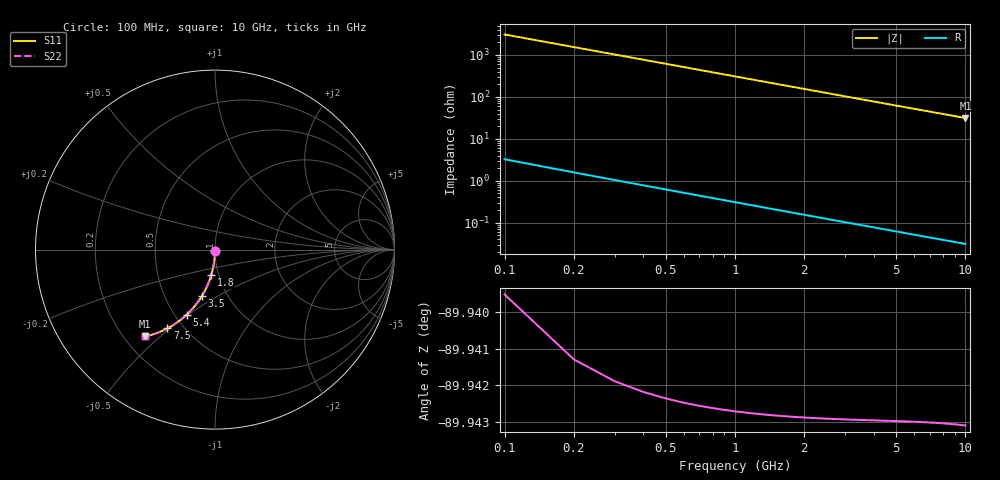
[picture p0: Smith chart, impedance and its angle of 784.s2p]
# Hz S RI R 50.00
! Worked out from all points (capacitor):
!   100 points, 100 MHz to 10 GHz, reference 50 ohm
!   read as one part in shunt: C = 516 fF near 100 MHz
!   lowest |Z| = 31.4 ohm at 10 GHz (marker M1)
!   S11 on the Smith chart (normalised r, x): 100 MHz: 1.00, -0.02; 1.8 GHz: 0.92, -0.27; 3.5 GHz: 0.76, -0.43; 5.4 GHz: 0.57, -0.49; 7.5 GHz: 0.41, -0.49; 10 GHz: 0.28, -0.45
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1e8  -6.96e-05 -0.00808  0.9999 -0.00814  0.9999 -0.00814  -6.96e-05 -0.00808
2e8  -0.000275 -0.0162  0.9997 -0.0163  0.9997 -0.0163  -0.000275 -0.0162
3e8  -0.000612 -0.0242  0.9994 -0.0244  0.9994 -0.0244  -0.000612 -0.0242
4e8  -0.00108 -0.0323  0.9989 -0.0325  0.9989 -0.0325  -0.00108 -0.0323
5e8  -0.00168 -0.0403  0.9983 -0.0406  0.9983 -0.0406  -0.00168 -0.0403
6e8  -0.00241 -0.0484  0.9976 -0.0487  0.9976 -0.0487  -0.00241 -0.0484
8e8  -0.00425 -0.0643  0.9957 -0.0648  0.9957 -0.0648  -0.00425 -0.0643
1.1e9  -0.00796 -0.0881  0.992 -0.0887  0.992 -0.0887  -0.00796 -0.0881
1.4e9  -0.0128 -0.1115  0.9872 -0.1123  0.9872 -0.1123  -0.0128 -0.1115
1.8e9  -0.0209 -0.1421  0.9791 -0.1431  0.9791 -0.1431  -0.0209 -0.1421
2.1e9  -0.0282 -0.1644  0.9718 -0.1657  0.9718 -0.1657  -0.0282 -0.1644
2.5e9  -0.0394 -0.1933  0.9606 -0.1948  0.9606 -0.1948  -0.0394 -0.1933
2.9e9  -0.0522 -0.221  0.9478 -0.2228  0.9478 -0.2228  -0.0522 -0.221
3.4e9  -0.0702 -0.2539  0.9298 -0.256  0.9298 -0.256  -0.0702 -0.2539
3.5e9  -0.074 -0.2603  0.926 -0.2624  0.926 -0.2624  -0.074 -0.2603
4.3e9  -0.1073 -0.3077  0.8927 -0.3103  0.8927 -0.3103  -0.1073 -0.3077
5.1e9  -0.1442 -0.3493  0.8557 -0.3524  0.8557 -0.3524  -0.1442 -0.3493
5.4e9  -0.1588 -0.3633  0.8412 -0.3666  0.8412 -0.3666  -0.1588 -0.3633
6.7e9  -0.2244 -0.4146  0.7756 -0.4187  0.7756 -0.4187  -0.2244 -0.4146
7.5e9  -0.2656 -0.4388  0.7344 -0.4435  0.7344 -0.4435  -0.2656 -0.4388
8.4e9  -0.3115 -0.46  0.6884 -0.4652  0.6884 -0.4652  -0.3115 -0.46
1e10  -0.3899 -0.4841  0.6101 -0.4904  0.6101 -0.4904  -0.3899 -0.4841
